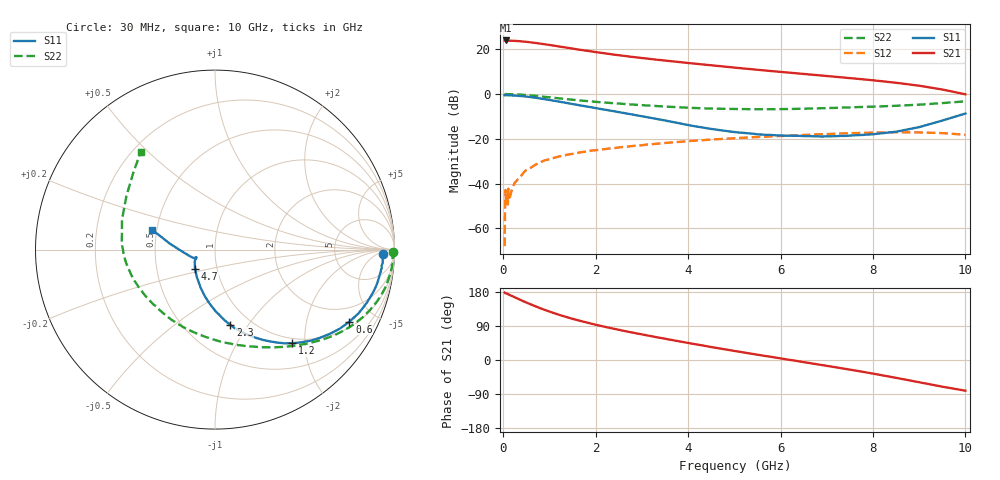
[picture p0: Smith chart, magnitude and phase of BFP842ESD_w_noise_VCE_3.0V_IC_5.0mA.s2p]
! Infineon Technologies  Discrete & RF Semiconductors
! BFP842ESD
! VCE =  3.0 V,  IC =  5.0 mA
! Common Emitter S-Parameters:  May 2012
# GHz  S  MA  R  50
!  f  S11  S21  S12  S22
! GHz  MAG  ANG  MAG  ANG  MAG  ANG  MAG  ANG
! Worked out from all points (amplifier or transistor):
!   99 points, 30 MHz to 10 GHz, reference 50 ohm
!   highest |S21| = 23.9 dB at 60 MHz (marker M1)
!   |S21| within 3 dB of that: start of sweep to 1.305 GHz
!   unconditionally stable (mu >= 1): 3.72 GHz to end of sweep
!   at 350 MHz: K = 0.17, MSG = 30.4 dB, |S12| = -37.2 dB
!   at 3.5 GHz: K = 0.97, MSG = 18.4 dB, |S12| = -21.9 dB
!   at 10 GHz: K = 1.91, MAG = 3.5 dB, |S12| = -18.2 dB
!   lowest NFmin = 0.41 dB at 450 MHz
!   S11 on the Smith chart (normalised r, x): 30 MHz: 26, -10; 600 MHz: 1.24, -3.58; 1.2 GHz: 0.91, -1.75; 2.3 GHz: 0.81, -0.83; 4.7 GHz: 0.78, -0.18; 10 GHz: 0.47, +0.12
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0.03  0.9364 -1.5  15.58 177.8  0.0004 114.8  0.9935 -0.8
0.04  0.939 -1.8  15.53 177.1  0.0027 89.9  0.9944 -1.0
0.05  0.9404 -2.4  15.43 176.3  0.0072 47.0  0.992 -2.1
0.06  0.9338 -3.0  15.66 175.8  0.0036 70.9  0.9991 -2.2
0.09  0.9374 -4.5  15.35 174.6  0.0054 72.5  0.992 -3.2
0.1  0.9355 -4.9  15.48 174.0  0.0034 54.8  0.9917 -3.6
0.11  0.9324 -5.6  15.6 173.1  0.0077 83.5  0.9912 -4.0
0.14  0.9316 -7.0  15.46 171.8  0.0043 81.5  0.9893 -5.2
0.35  0.9048 -17.1  15.11 159.9  0.0138 77.3  0.9708 -12.9
0.6  0.8501 -28.2  14.17 146.5  0.0227 70.4  0.9268 -21.3
0.9  0.7643 -40.0  12.88 132.2  0.033 62.6  0.8632 -30.2
1.2  0.677 -50.4  11.53 119.6  0.0401 56.0  0.8004 -37.7
1.7  0.548 -64.4  9.578 102.2  0.0503 48.3  0.7099 -48.3
2.3  0.4275 -78.4  7.815 84.8  0.0607 41.1  0.6327 -59.5
2.9  0.332 -91.0  6.527 69.9  0.0709 35.0  0.5724 -70.6
3.4  0.2679 -101.8  5.717 58.4  0.0788 30.3  0.5307 -80.6
4.1  0.194 -119.4  4.806 42.8  0.0901 22.8  0.4889 -96.4
4.7  0.1551 -135.3  4.172 30.1  0.0987 15.5  0.4681 -110.4
5.1  0.1378 -144.9  3.798 22.0  0.1041 11.2  0.4603 -119.3
6.7  0.1136 -157.4  2.687 -9.5  0.1244 -8.0  0.474 -154.2
8.5  0.1437 -164.8  1.779 -47.1  0.1398 -36.3  0.5445 162.1
10  0.3663 162.5  0.983 -81.0  0.1229 -67.1  0.6847 127.1
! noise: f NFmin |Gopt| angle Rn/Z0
0.45  0.41  0.38  3  0.11
0.9  0.43  0.4  8  0.11
1.5  0.46  0.41  19  0.11
1.9  0.48  0.39  29  0.11
2.4  0.52  0.36  42  0.1
3.5  0.63  0.26  79  0.08
4  0.66  0.22  100  0.08
5  0.72  0.2  119  0.07
5.5  0.84  0.18  145  0.07
6  0.97  0.16  155  0.08
